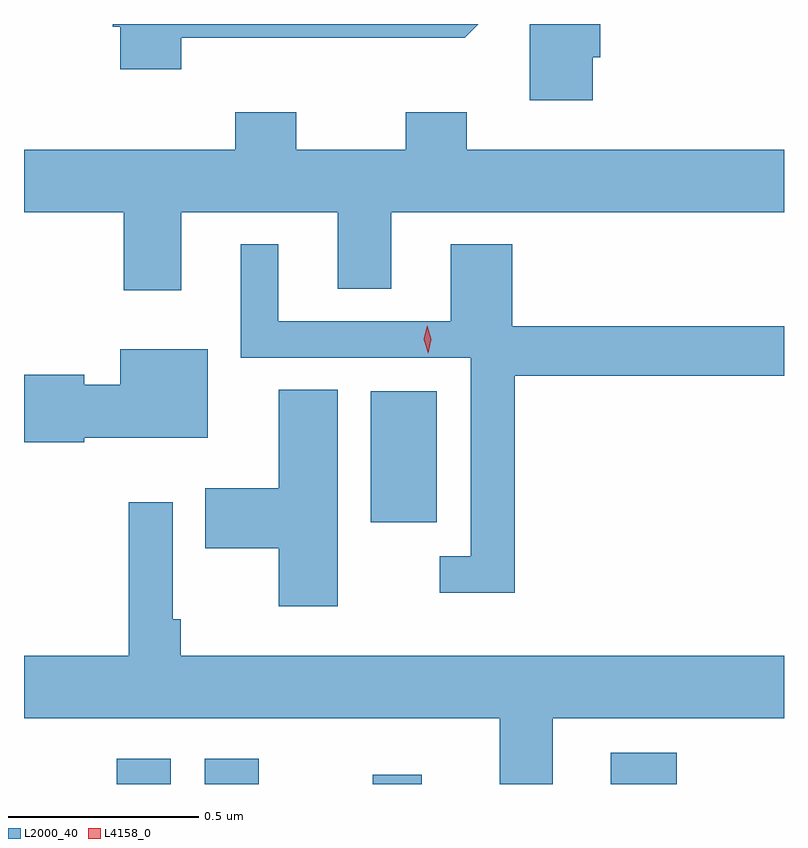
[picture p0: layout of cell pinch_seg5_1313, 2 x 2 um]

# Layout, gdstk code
import gdstk
lib = gdstk.Library(unit=1e-6, precision=1e-09)
def R(c, l, rs):  # rectangles x0, y0, x1, y1
    for r in rs: c.add(gdstk.rectangle(r[:2], r[2:], *l))
def P(c, l, *ps):  # polygons
    for p in ps: c.add(gdstk.Polygon(p, *l))
L2000_40 = (2000, 40)
L4158_0 = (4158, 0)

pinch_seg5_1313 = lib.new_cell('pinch_seg5_1313')
R(pinch_seg5_1313, L2000_40, [(461.939,855.255,462.081,855.322), (462.171,855.255,462.313,855.322), (462.613,855.255,462.742,855.28), (463.239,855.255,463.413,855.337), (462.608,855.944,462.781,856.288)])
P(pinch_seg5_1313, L2000_40, [(463.192,857.167),(463.211,857.167),(463.211,857.255),(463.026,857.255),(463.026,857.055),(463.192,857.055)],
  [(462.109,857.219),(462.855,857.219),(462.891,857.255),(461.929,857.255),(461.929,857.248),(461.948,857.248),(461.948,857.136),(462.109,857.136)],
  [(462.109,856.76),(462.521,856.76),(462.521,856.558),(462.661,856.558),(462.661,856.76),(463.695,856.76),(463.695,856.924),(462.86,856.924),(462.86,857.023),(462.7,857.023),(462.7,856.924),(462.411,856.924),(462.411,857.023),(462.251,857.023),(462.251,856.924),(461.695,856.924),(461.695,856.76),(461.957,856.76),(461.957,856.554),(462.109,856.554)],
  [(462.986,856.33),(463.695,856.33),(463.695,856.459),(462.98,856.459),(462.98,856.675),(462.818,856.675),(462.818,856.473),(462.364,856.473),(462.364,856.675),(462.266,856.675),(462.266,856.377),(462.87,856.377),(462.87,855.855),(462.789,855.855),(462.789,855.758),(462.986,855.758)],
  [(461.854,856.166),(462.178,856.166),(462.178,856.399),(461.948,856.399),(461.948,856.306),(461.854,856.306),(461.854,856.332),(461.695,856.332),(461.695,856.154),(461.854,856.154)],
  [(462.52,856.292),(462.365,856.292),(462.365,856.033),(462.172,856.033),(462.172,855.875),(462.365,855.875),(462.365,855.723),(462.52,855.723)],
  [(463.087,855.428),(463.695,855.428),(463.695,855.592),(462.107,855.592),(462.107,855.688),(462.087,855.688),(462.087,855.997),(461.971,855.997),(461.971,855.592),(461.695,855.592),(461.695,855.428),(462.947,855.428),(462.947,855.255),(463.087,855.255)])
P(pinch_seg5_1313, L4158_0, [(462.759,856.389),(462.759,856.389),(462.747,856.425),(462.756,856.461),(462.756,856.461),(462.756,856.461),(462.767,856.426),(462.759,856.389)])

lib.write_gds('pinch_seg5_1313.gds')
